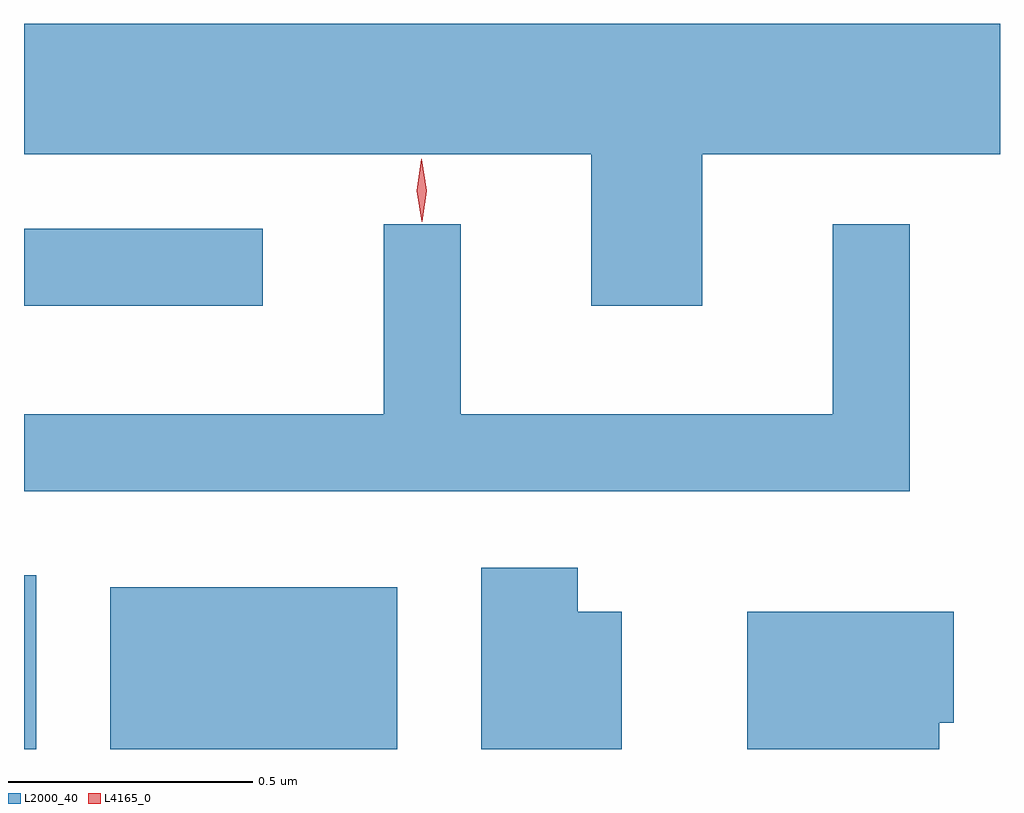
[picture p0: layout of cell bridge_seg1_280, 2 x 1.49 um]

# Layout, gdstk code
import gdstk
lib = gdstk.Library(unit=1e-6, precision=1e-09)
def R(c, l, rs):  # rectangles x0, y0, x1, y1
    for r in rs: c.add(gdstk.rectangle(r[:2], r[2:], *l))
def P(c, l, *ps):  # polygons
    for p in ps: c.add(gdstk.Polygon(p, *l))
L2000_40 = (2000, 40)
L4165_0 = (4165, 0)

bridge_seg1_280 = lib.new_cell('bridge_seg1_280')
R(bridge_seg1_280, L2000_40, [(899.599,891.697,899.624,892.054), (899.776,891.697,900.364,892.029), (899.599,892.606,900.088,892.764)])
P(bridge_seg1_280, L2000_40, [(900.989,892.916),(901.599,892.916),(901.599,893.184),(899.599,893.184),(899.599,892.916),(900.761,892.916),(900.761,892.606),(900.989,892.606)],
  [(901.414,892.773),(901.256,892.773),(901.256,892.384),(900.494,892.384),(900.494,892.773),(900.336,892.773),(900.336,892.384),(899.599,892.384),(899.599,892.226),(901.414,892.226)],
  [(900.824,891.979),(900.734,891.979),(900.734,892.069),(900.536,892.069),(900.536,891.697),(900.824,891.697)],
  [(901.474,891.751),(901.504,891.751),(901.504,891.979),(901.081,891.979),(901.081,891.697),(901.474,891.697)])
P(bridge_seg1_280, L4165_0, [(900.414,892.778),(900.414,892.778),(900.404,892.842),(900.413,892.906),(900.414,892.907),(900.414,892.906),(900.424,892.842),(900.415,892.778)])

lib.write_gds('bridge_seg1_280.gds')
